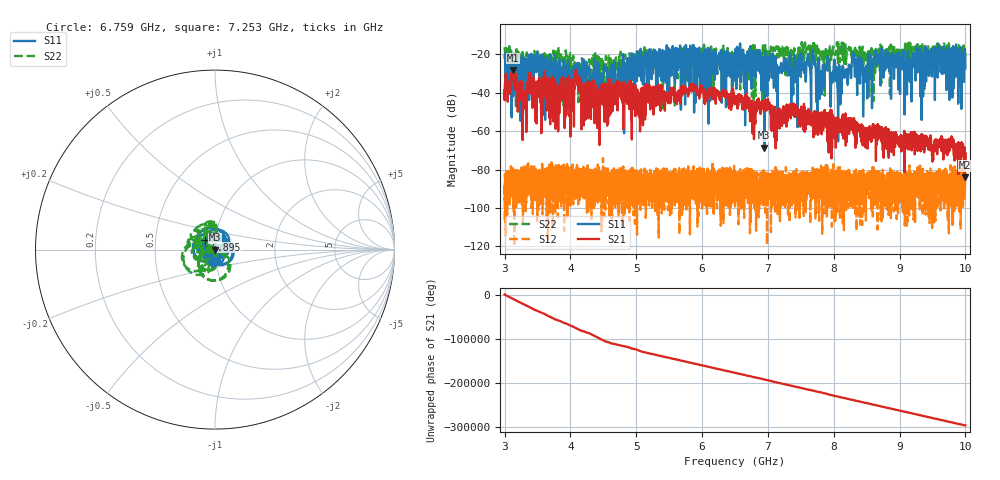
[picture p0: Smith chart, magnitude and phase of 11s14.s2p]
!Agilent Technologies,E8363B,MY43030572,A.06.04.32
!Agilent E8363B: A.06.04.32
!Date: Tuesday, June 07, 2011 09:34:12
!Correction: S11(Full 2 Port(1,2)) S21(Full 2 Port(1,2)) S12(Full 2 Port(1,2)) S22(Full 2 Port(1,2))
!S2P File: Measurements: S11, S21, S12, S22:
# Hz S  dB  R 50
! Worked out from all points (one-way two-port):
!   6401 points, 3 GHz to 10 GHz, reference 50 ohm
!   highest |S21| = -28.07 dB at 3.123 GHz (marker M1); lowest = -84.0 dB at 9.99 GHz (marker M2)
!   lowest |S11| = -68.6 dB at 6.945 GHz (marker M3), VSWR 1.00, Z = 50 - j0.0146 ohm
!   |S11| at or under -10 dB: start of sweep to end of sweep
!   |S22| runs from -51.2 to -12.8 dB; largest |S21 - S12| = 0.039
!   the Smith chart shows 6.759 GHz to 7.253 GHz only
!   S11 on the Smith chart (normalised r, x): 6.759 GHz: 0.97, -0.13; 6.895 GHz: 0.89, +0.10; 7.253 GHz: 1.02, -0.12
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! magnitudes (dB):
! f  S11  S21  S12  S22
! 3 GHz  -21.7  -38.6  -106.3  -16.2
! 3.123 GHz  -25.5  -28.1  -81.7  -22.1
! 3.3 GHz  -26.6  -45.1  -80.4  -21.2
! 3.377 GHz  -25.2  -31.2  -89.0  -25.0
! 4.097 GHz  -28.1  -30.2  -85.0  -29.5
! 4.167 GHz  -28.6  -47.6  -85.5  -24.0
! 4.397 GHz  -34.2  -36.7  -83.1  -24.9
! 4.466 GHz  -30.5  -43.4  -85.0  -27.7
! 4.528 GHz  -26.8  -36.9  -87.9  -25.6
! 5.334 GHz  -19.7  -35.6  -93.1  -25.4
! 6.5 GHz  -23.1  -42.5  -97.4  -24.1
! 6.759 GHz  -23.3  -53.1  -86.2  -31.3
! 6.895 GHz  -22.2  -50.1  -97.7  -21.1
! 6.945 GHz  -68.6  -46.0  -88.1  -20.9
! 7.253 GHz  -24.7  -54.0  -88.2  -16.9
! 7.667 GHz  -22.0  -57.0  -95.3  -16.7
! 8.086 GHz  -25.8  -56.5  -88.7  -19.8
! 8.31 GHz  -22.8  -54.8  -84.3  -18.9
! 8.477 GHz  -30.2  -60.6  -96.9  -19.7
! 8.834 GHz  -19.7  -66.0  -89.4  -20.7
! 9.99 GHz  -17.0  -84.0  -90.7  -18.7
! 10 GHz  -27.3  -71.7  -84.0  -21.0
